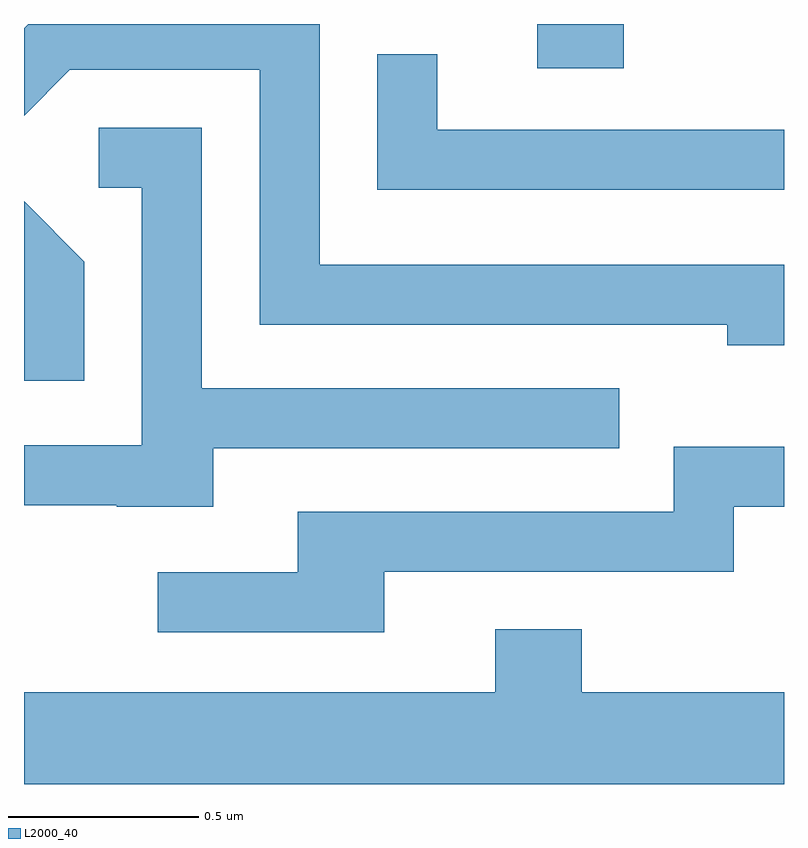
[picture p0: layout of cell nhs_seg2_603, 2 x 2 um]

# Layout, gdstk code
import gdstk
lib = gdstk.Library(unit=1e-6, precision=1e-09)
def R(c, l, rs):  # rectangles x0, y0, x1, y1
    for r in rs: c.add(gdstk.rectangle(r[:2], r[2:], *l))
def P(c, l, *ps):  # polygons
    for p in ps: c.add(gdstk.Polygon(p, *l))
L2000_40 = (2000, 40)

nhs_seg2_603 = lib.new_cell('nhs_seg2_603')
R(nhs_seg2_603, L2000_40, [(190.961,1034.686,191.189,1034.802)])
P(nhs_seg2_603, L2000_40, [(191.611,1034.169),(190.389,1034.169),(190.389,1034.802),(189.622,1034.802),(189.611,1034.791),(189.611,1034.56),(189.732,1034.681),(190.231,1034.681),(190.231,1034.011),(191.461,1034.011),(191.461,1033.956),(191.611,1033.956)],
  [(191.611,1034.524),(190.699,1034.524),(190.699,1034.723),(190.541,1034.723),(190.541,1034.366),(191.611,1034.366)],
  [(190.109,1033.686),(191.178,1033.686),(191.178,1033.844),(190.079,1033.844),(190.079,1034.529),(189.808,1034.529),(189.808,1034.371),(189.921,1034.371),(189.921,1033.694),(189.611,1033.694),(189.611,1033.536),(189.855,1033.536),(189.855,1033.531),(190.109,1033.531)],
  [(189.769,1034.177),(189.611,1034.335),(189.611,1033.863),(189.769,1033.863)],
  [(190.559,1033.361),(191.479,1033.361),(191.479,1033.531),(191.611,1033.531),(191.611,1033.689),(191.321,1033.689),(191.321,1033.519),(190.331,1033.519),(190.331,1033.359),(189.963,1033.359),(189.963,1033.201),(190.559,1033.201)],
  [(191.611,1033.044),(191.079,1033.044),(191.079,1033.209),(190.851,1033.209),(190.851,1033.044),(189.611,1033.044),(189.611,1032.802),(191.611,1032.802)])

lib.write_gds('nhs_seg2_603.gds')
